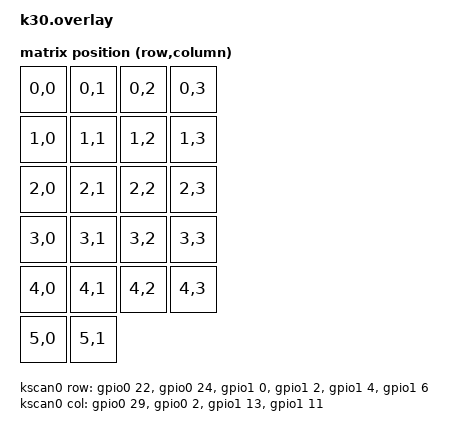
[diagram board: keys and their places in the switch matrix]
/*
 * Copyright (c) 2020 The ZMK Contributors
 *
 * SPDX-License-Identifier: MIT
 */

#include <dt-bindings/zmk/matrix_transform.h>
#include <dt-bindings/zmk/led.h>

/ {
	chosen {
    zmk,kscan = &kscan0;
    zmk,matrix_transform = &default_transform;
    };
    
	
	

	default_transform: keymap_transform_0 {
		compatible = "zmk,matrix-transform";
		columns = <4>;
		rows = <6>;
        map = <
        RC(0,0) RC(0,1) RC(0,2) RC(0,3)
        RC(1,0) RC(1,1) RC(1,2) RC(1,3)
        RC(2,0) RC(2,1) RC(2,2) RC(2,3)
        RC(3,0) RC(3,1) RC(3,2) RC(3,3)
        RC(4,0) RC(4,1) RC(4,2) RC(4,3)
		RC(5,0) RC(5,1)
		>;
	};
	kscan0: kscan {
		compatible = "zmk,kscan-gpio-matrix";
        label = "KSCAN";  // ← 添加这行
        wakeup-source;

        diode-direction = "col2row";
		col-gpios
			= <&gpio0 29 GPIO_ACTIVE_HIGH>
			, <&gpio0 2 GPIO_ACTIVE_HIGH>
			, <&gpio1 13 GPIO_ACTIVE_HIGH>
			, <&gpio1 11 GPIO_ACTIVE_HIGH>
			;
		row-gpios
			= <&gpio0 22 (GPIO_ACTIVE_HIGH | GPIO_PULL_DOWN)>
			, <&gpio0 24 (GPIO_ACTIVE_HIGH | GPIO_PULL_DOWN)>
			, <&gpio1 0 (GPIO_ACTIVE_HIGH | GPIO_PULL_DOWN)>
			, <&gpio1 2 (GPIO_ACTIVE_HIGH | GPIO_PULL_DOWN)>
			, <&gpio1 4 (GPIO_ACTIVE_HIGH | GPIO_PULL_DOWN)>
			, <&gpio1 6 (GPIO_ACTIVE_HIGH | GPIO_PULL_DOWN)>
			;
	};

	/* 单色LED配置 - GPIO 1 10 */
	leds {
		compatible = "gpio-leds";

		/* 蓝牙状态指示LED */
		led_bt_status: led_bt_status {
			gpios = <&gpio1 10 GPIO_ACTIVE_HIGH>;
			label = "BT_STATUS_LED";
		};
	};

	/* LED行为配置 */
	zmk_leds {
		compatible = "zmk,leds";
		label = "ZMK_LEDS";
	
		led_indicators: indicators {
			compatible = "zmk,led-indicators";
			
			/* 蓝牙状态指示配置 */
			bt_indicator: bt_indicator {
				label = "BT_INDICATOR";
				leds = <&led_bt_status>;
				type = <LED_TYPE_BT_STATUS>;
				/* 不同蓝牙状态的闪烁模式 */
				/* 断开连接时：慢闪 (1秒亮/1秒灭) */
				/* 正在连接：快闪 (0.2秒亮/0.2秒灭) */
				/* 已连接：常亮 */
			};
		};
	};
};
